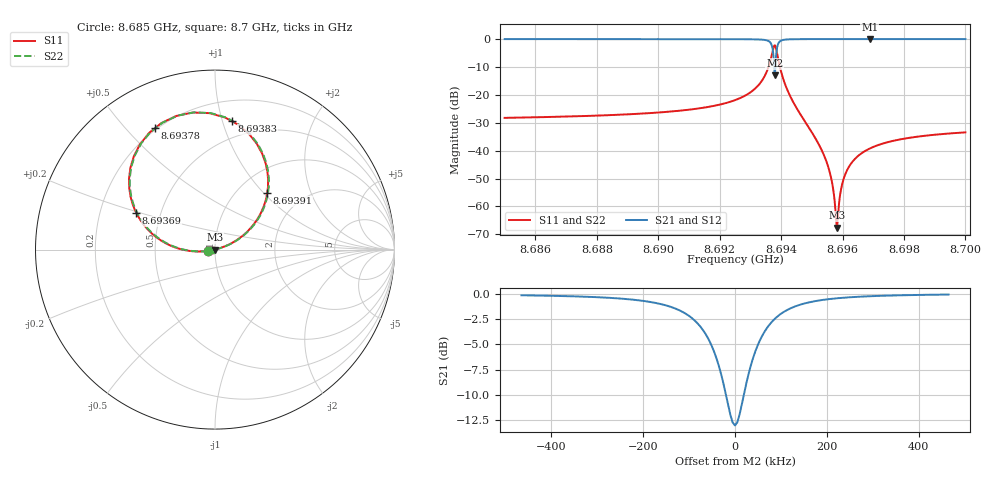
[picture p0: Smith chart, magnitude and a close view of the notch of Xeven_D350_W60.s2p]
! Sonnet Data File
! From: emgraph Version : 16.52
! From Project: Qubit_Xmon2_brg_para
! Data is De-embedded
! Data File Written: 10/25/2017 20:11:04
!< HDATE 10/25/2017 15:55:44
!< MDATE 10/25/2017 15:55:44
!< PARAMS
!< Lj = 11.0
!< Gap = 6.0
!< Pwid = 2000.0
!< Airgap = 6.0
!< Width = 10.0
!< Bwid = 60.0
!< Dis1 = 350.0
!< Dis2 = 356.0
!< END PARAMS
# GHZ S MA R 51.80000
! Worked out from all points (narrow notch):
!   3001 points, 8.685 GHz to 8.7 GHz, reference 51.8 ohm
!   highest |S21| = 0.00 dB at 8.69688 GHz (marker M1); lowest = -13.0 dB at 8.69379 GHz (marker M2)
!   notch at M2: 13.0 dB deep, 77.8 kHz wide at half that depth
!   lowest |S11| = -67.6 dB at 8.69581 GHz (marker M3), VSWR 1.00, Z = 51.8 + j0.0424 ohm
!   |S11| at or under -10 dB: start of sweep to 8.693591 GHz; 8.693962 GHz to end of sweep
!   |S22| runs from -75.7 to -2.2 dB; largest |S21 - S12| = 0
!   S11 on the Smith chart (normalised r, x): 8.685 GHz: 0.93, -0.01; 8.69369 GHz: 0.36, +0.19; 8.69378 GHz: 0.19, +0.60; 8.69383 GHz: 0.36, +1.08; 8.69391 GHz: 1.35, +1.05; 8.7 GHz: 0.96, -0.01
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8.685  0.0387 -169.8  0.9992 -79.8  0.9992 -79.8  0.0387 -170.0
!< P1 F=8.685 Eeff=(6.44683879 -2.9786e-5) Z0=(51.7993663 1.19075e-4) R=0.0 C=0.0
!< P2 F=8.685 Eeff=(6.44683879 -2.9786e-5) Z0=(51.7993663 1.19075e-4) R=0.0 C=0.0
8.6875  0.04158 -169.9  0.9991 -80.0  0.9991 -80.0  0.04158 -170.2
8.69  0.04823 -170.4  0.9988 -80.4  0.9988 -80.4  0.04823 -170.7
8.6925  0.08039 -172.6  0.9961 -82.3  0.9961 -82.3  0.08039 -173.0
8.693285  0.1538 -177.9  0.9837 -86.5  0.9837 -86.5  0.1538 -178.5
8.693565  0.2882 171.8  0.9371 -94.4  0.9371 -94.4  0.2882 171.2
8.693685  0.4837 155.1  0.8028 -106.2  0.8028 -106.2  0.4836 154.4
8.693775  0.7571 116.3  0.3197 -111.9  0.3197 -111.9  0.757 115.7
8.693795  0.7759 102.7  0.2241 -78.1  0.2241 -78.1  0.7759 102.1
8.693825  0.7236 82.5  0.4059 -39.9  0.4059 -39.9  0.7236 81.8
8.69391  0.4301 47.3  0.8336 -52.6  0.8336 -52.6  0.43 46.7
8.69414  0.1498 24.9  0.9791 -69.1  0.9791 -69.1  0.1497 24.2
8.695  0.02134 16.3  0.999 -76.5  0.999 -76.5  0.02133 15.0
8.695555  0.004699 19.0  0.9996 -77.5  0.9996 -77.5  0.004679 15.3
8.69567  0.002496 23.4  0.9997 -77.6  0.9997 -77.6  0.002462 17.0
8.695815  0.0004165 100.5  0.9997 -77.7  0.9997 -77.7  0.0001635 96.7
8.695865  0.0008483 164.2  0.9997 -77.8  0.9997 -77.8  0.0007615 -179.4
8.695975  0.00233 -176.8  0.9997 -77.9  0.9997 -77.9  0.002303 -171.2
8.69613  0.004253 -172.3  0.9998 -78.0  0.9998 -78.0  0.00424 -169.5
8.696885  0.01091 -169.4  0.9998 -78.4  0.9998 -78.4  0.01091 -168.7
8.6975  0.01433 -169.1  0.9998 -78.6  0.9998 -78.6  0.01433 -168.7
8.7  0.02126 -169.1  0.9997 -79.0  0.9997 -79.0  0.02126 -169.0
